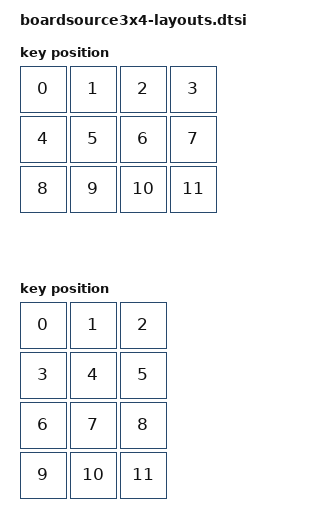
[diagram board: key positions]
/*
 * Copyright (c) 2025 The ZMK Contributors
 *
 * SPDX-License-Identifier: MIT
 */

#include <physical_layouts.dtsi>

/ {
    horizontal_physical_layout: horizontal_physical_layout {
        compatible = "zmk,physical-layout";
        display-name = "Horizontal Layout";

        keys
            = <&key_physical_attrs 100 100      0   0    0 0 0>
            , <&key_physical_attrs 100 100    100   0    0 0 0>
            , <&key_physical_attrs 100 100    200   0    0 0 0>
            , <&key_physical_attrs 100 100    300   0    0 0 0>
            , <&key_physical_attrs 100 100      0 100    0 0 0>
            , <&key_physical_attrs 100 100    100 100    0 0 0>
            , <&key_physical_attrs 100 100    200 100    0 0 0>
            , <&key_physical_attrs 100 100    300 100    0 0 0>
            , <&key_physical_attrs 100 100      0 200    0 0 0>
            , <&key_physical_attrs 100 100    100 200    0 0 0>
            , <&key_physical_attrs 100 100    200 200    0 0 0>
            , <&key_physical_attrs 100 100    300 200    0 0 0>
            ;
    };

    vertical_physical_layout: vertical_physical_layout {
        compatible = "zmk,physical-layout";
        display-name = "Vertical Layout";

        keys
            = <&key_physical_attrs 100 100      0   0    0 0 0>
            , <&key_physical_attrs 100 100    100   0    0 0 0>
            , <&key_physical_attrs 100 100    200   0    0 0 0>
            , <&key_physical_attrs 100 100      0 100    0 0 0>
            , <&key_physical_attrs 100 100    100 100    0 0 0>
            , <&key_physical_attrs 100 100    200 100    0 0 0>
            , <&key_physical_attrs 100 100      0 200    0 0 0>
            , <&key_physical_attrs 100 100    100 200    0 0 0>
            , <&key_physical_attrs 100 100    200 200    0 0 0>
            , <&key_physical_attrs 100 100      0 300    0 0 0>
            , <&key_physical_attrs 100 100    100 300    0 0 0>
            , <&key_physical_attrs 100 100    200 300    0 0 0>
            ;
    };

    position_map {
        compatible = "zmk,physical-layout-position-map";

        horizontal_map: horizontal {
            // A  7  8  9
            // B  4  5  6
            // C  1  2  3
            physical-layout = <&horizontal_physical_layout>;
            positions = </* 0 */ 1 2 3 4 5 6 7 8 /* 9 10 11 */>;
        };
        vertical_map: verctical {
            // A  B  C
            // 7  8  9
            // 4  5  6
            // 1  2  3
            physical-layout = <&vertical_physical_layout>;
            positions = </* 0 */ 3 4 5 1 6 7 8 2 /* 9 10 11 */>;
        };
    };

};
